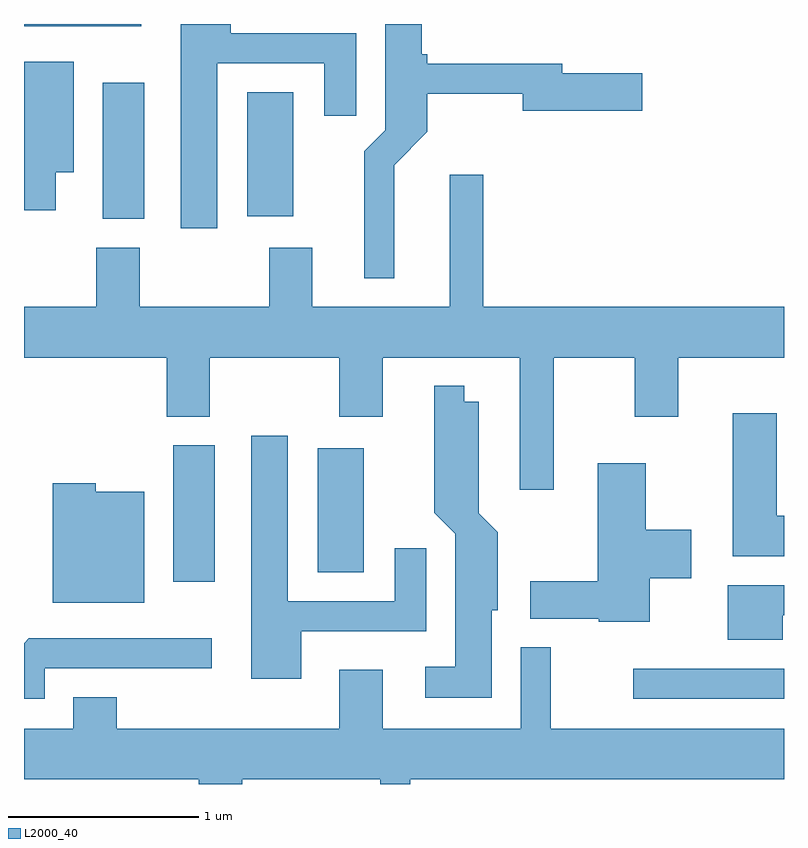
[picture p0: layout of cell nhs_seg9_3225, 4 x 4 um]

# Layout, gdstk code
import gdstk
lib = gdstk.Library(unit=1e-6, precision=1e-09)
def R(c, l, rs):  # rectangles x0, y0, x1, y1
    for r in rs: c.add(gdstk.rectangle(r[:2], r[2:], *l))
def P(c, l, *ps):  # polygons
    for p in ps: c.add(gdstk.Polygon(p, *l))
L2000_40 = (2000, 40)

nhs_seg9_3225 = lib.new_cell('nhs_seg9_3225')
R(nhs_seg9_3225, L2000_40, [(282.818,2018.881,283.611,2019.039), (280.396,2019.496,280.614,2020.214), (281.156,2019.546,281.399,2020.199), (280.026,2021.406,280.244,2022.124), (280.786,2021.421,281.029,2022.074), (279.611,2022.421,280.228,2022.432)])
P(nhs_seg9_3225, L2000_40, [(281.559,2021.689),(281.734,2021.864),(281.734,2022.066),(282.236,2022.066),(282.236,2021.976),(282.864,2021.976),(282.864,2022.174),(282.444,2022.174),(282.444,2022.224),(281.734,2022.224),(281.734,2022.274),(281.704,2022.274),(281.704,2022.432),(281.511,2022.432),(281.511,2021.872),(281.401,2021.762),(281.401,2021.093),(281.559,2021.093)],
  [(280.629,2022.226),(281.191,2022.226),(281.191,2021.948),(281.359,2021.948),(281.359,2022.384),(280.699,2022.384),(280.699,2022.432),(280.436,2022.432),(280.436,2021.356),(280.629,2021.356)],
  [(279.779,2021.651),(279.874,2021.651),(279.874,2022.234),(279.611,2022.234),(279.611,2021.451),(279.779,2021.451)],
  [(282.399,2020.676),(282.826,2020.676),(282.826,2020.366),(283.054,2020.366),(283.054,2020.676),(283.611,2020.676),(283.611,2020.944),(282.029,2020.944),(282.029,2021.639),(281.851,2021.639),(281.851,2020.944),(281.129,2020.944),(281.129,2021.254),(280.901,2021.254),(280.901,2020.944),(280.219,2020.944),(280.219,2021.254),(279.991,2021.254),(279.991,2020.944),(279.611,2020.944),(279.611,2020.676),(280.361,2020.676),(280.361,2020.366),(280.589,2020.366),(280.589,2020.676),(281.271,2020.676),(281.271,2020.366),(281.499,2020.366),(281.499,2020.676),(282.221,2020.676),(282.221,2019.981),(282.399,2019.981)],
  [(282.074,2019.346),(282.104,2019.346),(282.104,2019.757),(282.004,2019.857),(282.004,2020.444),(281.929,2020.444),(281.929,2020.528),(281.771,2020.528),(281.771,2019.859),(281.881,2019.749),(281.881,2019.049),(281.723,2019.049),(281.723,2018.886),(282.074,2018.886)],
  [(283.611,2019.844),(283.574,2019.844),(283.574,2020.384),(283.341,2020.384),(283.341,2019.631),(283.611,2019.631)],
  [(281.069,2019.236),(281.729,2019.236),(281.729,2019.673),(281.561,2019.673),(281.561,2019.394),(280.999,2019.394),(280.999,2020.264),(280.806,2020.264),(280.806,2018.986),(281.069,2018.986)],
  [(282.904,2019.516),(283.124,2019.516),(283.124,2019.769),(282.884,2019.769),(282.884,2020.119),(282.631,2020.119),(282.631,2019.499),(282.276,2019.499),(282.276,2019.301),(282.635,2019.301),(282.635,2019.286),(282.904,2019.286)],
  [(280.244,2019.969),(279.989,2019.969),(279.989,2020.014),(279.761,2020.014),(279.761,2019.386),(280.244,2019.386)],
  [(283.604,2019.321),(283.611,2019.321),(283.611,2019.479),(283.316,2019.479),(283.316,2019.191),(283.604,2019.191)],
  [(279.719,2019.041),(280.598,2019.041),(280.598,2019.199),(279.637,2019.199),(279.611,2019.173),(279.611,2018.881),(279.719,2018.881)],
  [(280.759,2018.456),(281.486,2018.456),(281.486,2018.432),(281.644,2018.432),(281.644,2018.456),(283.611,2018.456),(283.611,2018.724),(282.384,2018.724),(282.384,2019.153),(282.226,2019.153),(282.226,2018.724),(281.499,2018.724),(281.499,2019.034),(281.271,2019.034),(281.271,2018.724),(280.099,2018.724),(280.099,2018.889),(279.871,2018.889),(279.871,2018.724),(279.611,2018.724),(279.611,2018.456),(280.531,2018.456),(280.531,2018.432),(280.759,2018.432)])

lib.write_gds('nhs_seg9_3225.gds')
